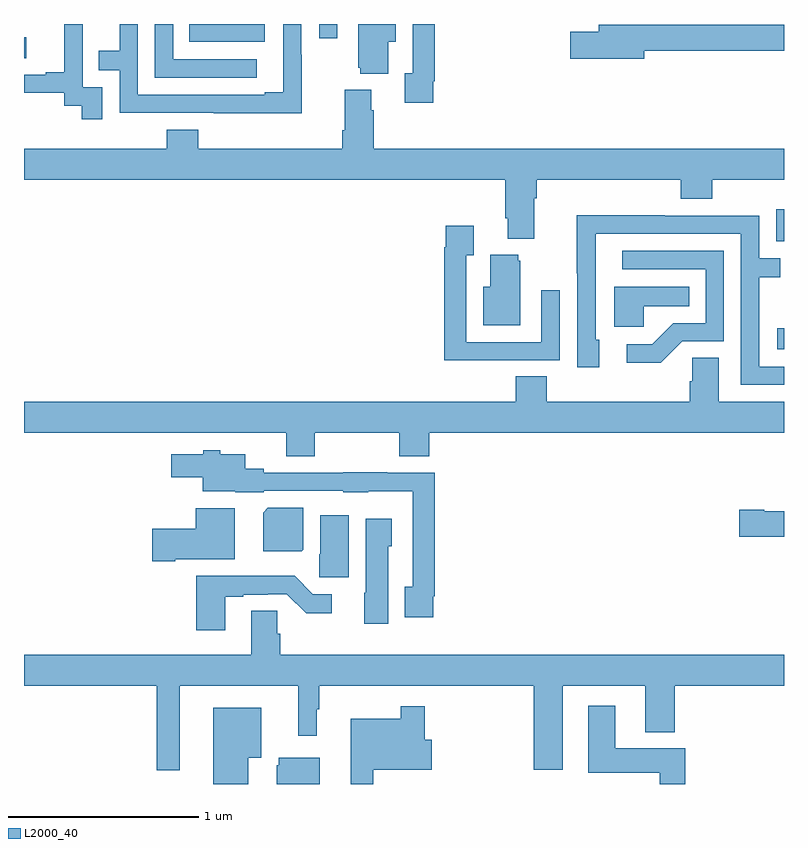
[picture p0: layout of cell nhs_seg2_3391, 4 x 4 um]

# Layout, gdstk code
import gdstk
lib = gdstk.Library(unit=1e-6, precision=1e-09)
def R(c, l, rs):  # rectangles x0, y0, x1, y1
    for r in rs: c.add(gdstk.rectangle(r[:2], r[2:], *l))
def P(c, l, *ps):  # polygons
    for p in ps: c.add(gdstk.Polygon(p, *l))
L2000_40 = (2000, 40)

nhs_seg2_3391 = lib.new_cell('nhs_seg2_3391')
R(nhs_seg2_3391, L2000_40, [(292.965,636.089,293,636.199), (292.959,636.657,293,636.826), (289,637.62,289.012,637.729), (289.87,637.706,290.266,637.8), (290.553,637.725,290.649,637.8)])
P(nhs_seg2_3391, L2000_40, [(291.154,637.498),(291.161,637.498),(291.161,637.8),(291.045,637.8),(291.045,637.542),(291.005,637.542),(291.005,637.386),(291.154,637.386)],
  [(290.224,637.614),(289.785,637.614),(289.785,637.8),(289.689,637.8),(289.689,637.518),(290.224,637.518)],
  [(290.917,637.706),(290.956,637.706),(290.956,637.8),(290.759,637.8),(290.759,637.569),(290.771,637.569),(290.771,637.538),(290.917,637.538)],
  [(290.463,637.637),(290.46,637.637),(290.46,637.8),(290.364,637.8),(290.364,637.441),(290.267,637.441),(290.267,637.428),(289.599,637.428),(289.599,637.8),(289.503,637.8),(289.503,637.658),(289.393,637.658),(289.393,637.557),(289.503,637.557),(289.503,637.332),(289.999,637.332),(289.999,637.331),(290.463,637.331)],
  [(289.413,637.467),(289.308,637.467),(289.308,637.697),(289.31,637.697),(289.31,637.8),(289.211,637.8),(289.211,637.546),(289.115,637.546),(289.115,637.533),(289,637.533),(289,637.437),(289.212,637.437),(289.212,637.369),(289.305,637.369),(289.305,637.299),(289.413,637.299)],
  [(292.264,637.66),(293,637.66),(293,637.796),(292.025,637.796),(292.025,637.76),(291.876,637.76),(291.876,637.618),(292.264,637.618)],
  [(291.685,636.884),(291.698,636.884),(291.698,636.98),(292.457,636.98),(292.457,636.881),(292.622,636.881),(292.622,636.98),(293,636.98),(293,637.144),(290.84,637.144),(290.84,637.346),(290.827,637.346),(290.827,637.453),(290.687,637.453),(290.687,637.24),(290.675,637.24),(290.675,637.144),(289.916,637.144),(289.916,637.243),(289.751,637.243),(289.751,637.144),(289,637.144),(289,636.98),(291.533,636.98),(291.533,636.778),(291.545,636.778),(291.545,636.671),(291.685,636.671)],
  [(293,635.997),(292.869,635.997),(292.869,636.466),(292.979,636.466),(292.979,636.567),(292.869,636.567),(292.869,636.792),(292.373,636.792),(292.373,636.794),(291.91,636.794),(291.91,636.487),(291.912,636.487),(291.912,635.994),(292.027,635.994),(292.027,636.138),(292.008,636.138),(292.008,636.442),(292.009,636.442),(292.009,636.696),(292.773,636.696),(292.773,635.901),(293,635.901)],
  [(291.503,636.03),(291.819,636.03),(291.819,636.4),(291.723,636.4),(291.723,636.126),(291.327,636.126),(291.327,636.583),(291.367,636.583),(291.367,636.739),(291.219,636.739),(291.219,636.626),(291.211,636.626),(291.211,636.029),(291.503,636.029)],
  [(292.464,636.129),(292.683,636.129),(292.683,636.606),(292.149,636.606),(292.149,636.51),(292.587,636.51),(292.587,636.225),(292.418,636.225),(292.307,636.114),(292.173,636.114),(292.173,636.017),(292.351,636.017)],
  [(291.613,636.555),(291.602,636.555),(291.602,636.586),(291.455,636.586),(291.455,636.418),(291.416,636.418),(291.416,636.215),(291.613,636.215)],
  [(292.263,636.314),(292.502,636.314),(292.502,636.418),(292.106,636.418),(292.106,636.206),(292.263,636.206)],
  [(290.529,635.648),(290.974,635.648),(290.974,635.524),(291.134,635.524),(291.134,635.648),(293,635.648),(293,635.812),(292.657,635.812),(292.657,636.044),(292.518,636.044),(292.518,635.921),(292.505,635.921),(292.505,635.812),(291.752,635.812),(291.752,635.945),(291.587,635.945),(291.587,635.812),(289,635.812),(289,635.648),(290.381,635.648),(290.381,635.524),(290.529,635.524)],
  [(291.154,634.789),(291.161,634.789),(291.161,635.439),(290.911,635.439),(290.911,635.441),(290.679,635.441),(290.679,635.439),(290.262,635.439),(290.262,635.458),(290.164,635.458),(290.164,635.536),(290.034,635.536),(290.034,635.557),(289.944,635.557),(289.944,635.536),(289.776,635.536),(289.776,635.414),(289.94,635.414),(289.94,635.342),(290.112,635.342),(290.112,635.336),(290.262,635.336),(290.262,635.343),(290.679,635.343),(290.679,635.336),(290.811,635.336),(290.811,635.342),(291.045,635.342),(291.045,634.838),(291.005,634.838),(291.005,634.677),(291.154,634.677)],
  [(290.47,635.032),(290.47,635.254),(290.284,635.254),(290.258,635.228),(290.258,635.024),(290.462,635.024)],
  [(289.797,634.982),(290.11,634.982),(290.11,635.252),(289.904,635.252),(289.904,635.143),(289.674,635.143),(289.674,634.973),(289.797,634.973)],
  [(293,635.236),(292.896,635.236),(292.896,635.244),(292.764,635.244),(292.764,635.102),(293,635.102)],
  [(290.71,635.215),(290.558,635.215),(290.558,635.01),(290.554,635.01),(290.554,634.887),(290.71,634.887)],
  [(290.917,635.052),(290.935,635.052),(290.935,635.197),(290.798,635.197),(290.798,634.806),(290.792,634.806),(290.792,634.644),(290.917,634.644)],
  [(290.059,634.785),(290.155,634.785),(290.155,634.797),(290.282,634.797),(290.282,634.8),(290.382,634.8),(290.485,634.698),(290.62,634.698),(290.62,634.8),(290.52,634.8),(290.425,634.895),(289.907,634.895),(289.907,634.608),(290.059,634.608)],
  [(289.819,634.316),(290.444,634.316),(290.444,634.053),(290.542,634.053),(290.542,634.193),(290.554,634.193),(290.554,634.316),(291.683,634.316),(291.683,633.875),(291.835,633.875),(291.835,634.316),(292.271,634.316),(292.271,634.073),(292.424,634.073),(292.424,634.316),(293,634.316),(293,634.48),(290.348,634.48),(290.348,634.59),(290.334,634.59),(290.334,634.712),(290.195,634.712),(290.195,634.48),(289,634.48),(289,634.316),(289.698,634.316),(289.698,633.872),(289.819,633.872)],
  [(292.481,633.988),(292.111,633.988),(292.111,634.213),(291.971,634.213),(291.971,633.86),(292.346,633.86),(292.346,633.8),(292.481,633.8)],
  [(290.837,633.875),(291.145,633.875),(291.145,634.033),(291.11,634.033),(291.11,634.21),(290.982,634.21),(290.982,634.144),(290.72,634.144),(290.72,633.8),(290.837,633.8)],
  [(290.179,633.938),(290.248,633.938),(290.248,634.201),(289.997,634.201),(289.997,633.8),(290.179,633.8)],
  [(290.557,633.937),(290.342,633.937),(290.342,633.9),(290.33,633.9),(290.33,633.8),(290.557,633.8)])

lib.write_gds('nhs_seg2_3391.gds')
